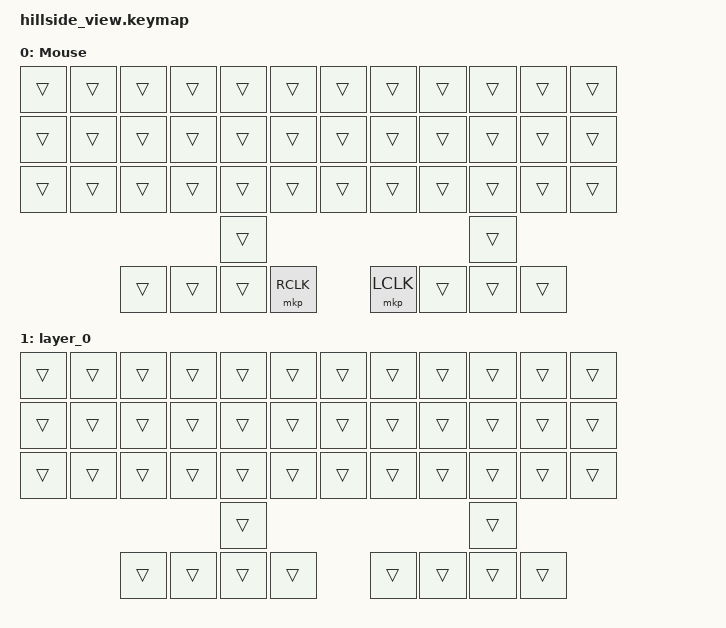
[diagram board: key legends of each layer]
#include "hillside_view_common.dtsi"
#include <dt-bindings/zmk/mouse.h>
#include <behaviors/mouse_keys.dtsi>
#include <dt-bindings/zmk/input_transform.h>
#include <input/processors.dtsi>
#include <behaviors.dtsi>
#include <dt-bindings/zmk/keys.h>

#define MOUSE 4

/ {
    // Trackpad input listener with temp layer and layer-specific processors
    // - MOUSE layer activates during any trackpad movement (300ms timeout)
    // - NUM layer: precise mode (slower movement)
    // - VIM layer: scroll mode

    tpad0_mmv_il {
        compatible = "zmk,input-listener";
        device = <&glidepoint_split>;
        input-processors = <&zip_temp_layer MOUSE 300>;

        precise {
            layers = <NUM>;
            process-next;
            input-processors = <&zip_xy_scaler 1 3>;
        };

        scroll {
            layers = <VIM>;
            process-next;
            input-processors =
                <&zip_xy_scaler 1 22>,
                <&zip_x_scaler 0 1>,
                <&zip_xy_to_scroll_mapper>;
        };
    };

    keymap {
        mouse_layer {
            display-name = "Mouse";
            bindings = <
    &trans   &trans   &trans   &trans   &trans   &trans       &trans   &trans   &trans   &trans   &trans   &trans
    &trans   &trans   &trans   &trans   &trans   &trans       &trans   &trans   &trans   &trans   &trans   &trans
    &trans   &trans   &trans   &trans   &trans   &trans       &trans   &trans   &trans   &trans   &trans   &trans
                                         &trans                                            &trans
                     &trans   &trans   &trans   &mkp RCLK             &mkp LCLK &trans  &trans   &trans
            >;
        };
    };

    combos {
        compatible = "zmk,combos";

        dollar {
            bindings = <&kp DOLLAR>;
            key-positions = <3 8>;
            layers = <0>;
        };
    };

    macros {
        sel_word: sel_word {
            compatible = "zmk,behavior-macro";
            #binding-cells = <0>;
            bindings = <&kp LC(LEFT) &kp LS(RIGHT)>;
            label = "SEL_WORD";
        };

        sel_line: sel_line {
            compatible = "zmk,behavior-macro";
            #binding-cells = <0>;
            bindings = <&kp HOME &kp LS(END)>;
            label = "SEL_LINE";
        };
    };

    keymap {
        compatible = "zmk,keymap";

        layer_0 {
            bindings = <
&trans  &trans  &trans  &trans  &trans  &trans      &trans  &trans  &trans  &trans  &trans  &trans
&trans  &trans  &trans  &trans  &trans  &trans      &trans  &trans  &trans  &trans  &trans  &trans
&trans  &trans  &trans  &trans  &trans  &trans      &trans  &trans  &trans  &trans  &trans  &trans
                        &trans                                      &trans
        &trans  &trans  &trans  &trans                      &trans  &trans  &trans  &trans
            >;
        };
    };
};
